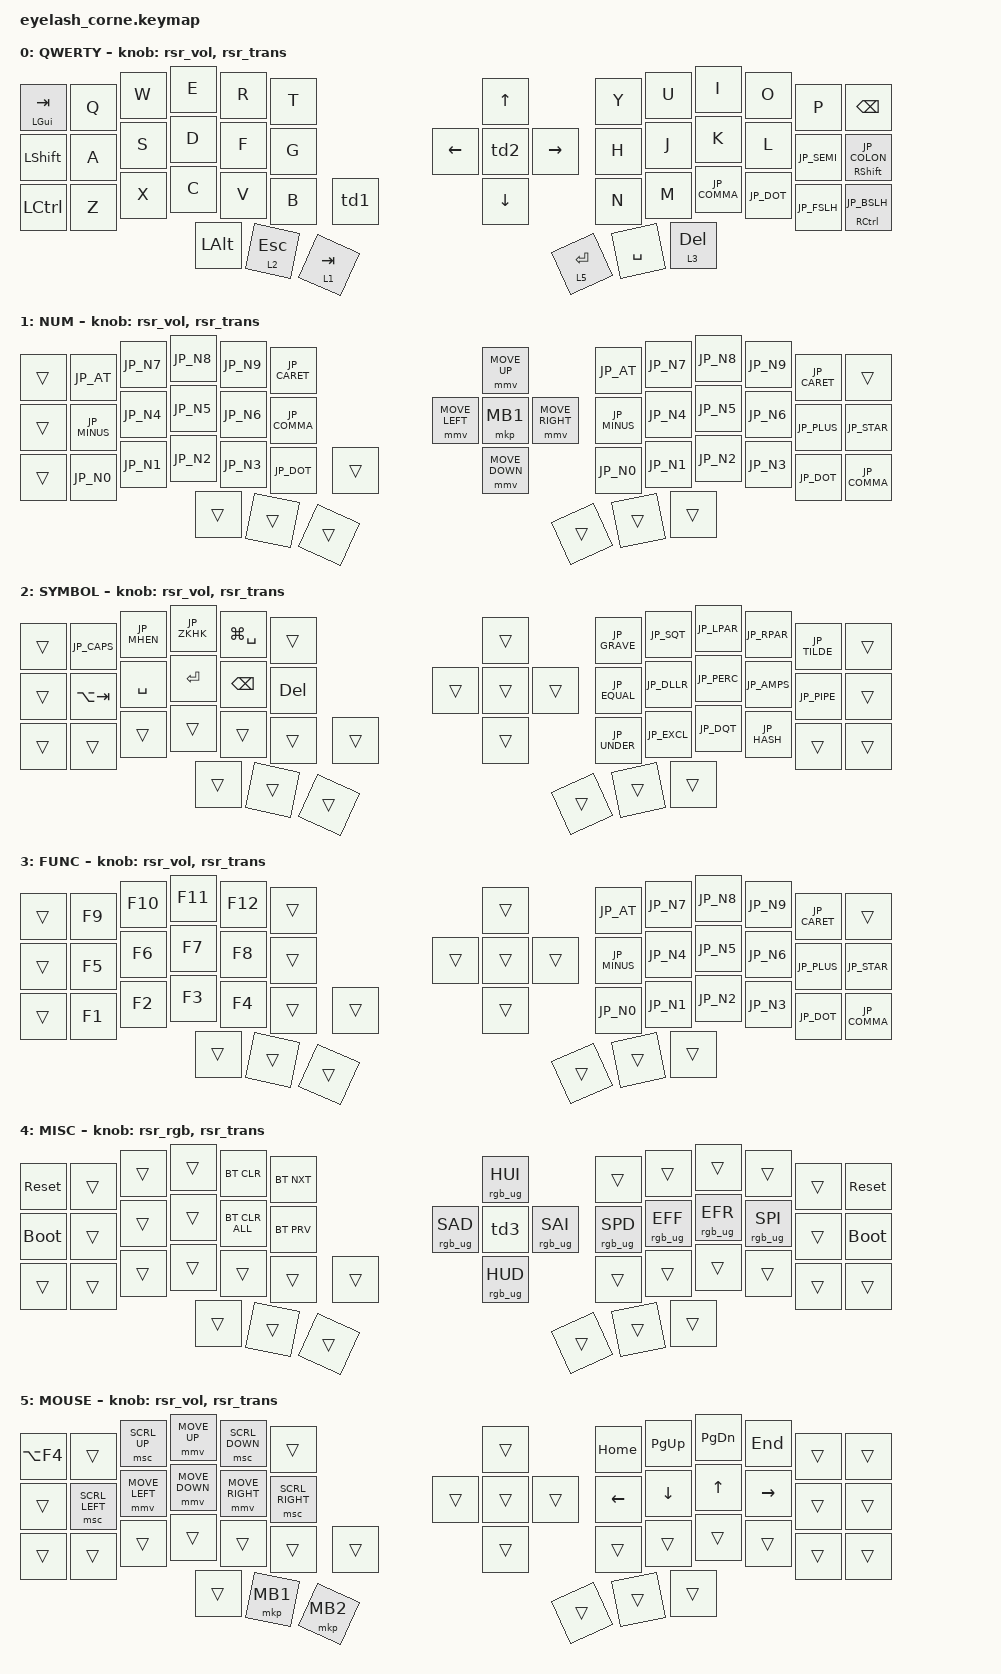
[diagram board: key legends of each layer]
#define ZMK_POINTING_DEFAULT_MOVE_VAL 1200  // 600
#define ZMK_POINTING_DEFAULT_SCRL_VAL 50   // 10

#include <input/processors.dtsi>
#include <zephyr/dt-bindings/input/input-event-codes.h>
#include <behaviors.dtsi>
#include <behaviors/runtime-sensor-rotate.dtsi>
#include <dt-bindings/zmk/bt.h>
#include <dt-bindings/zmk/keys.h>
#include <dt-bindings/zmk/outputs.h>
#include <dt-bindings/zmk/pointing.h>
#include <dt-bindings/zmk/rgb.h>
#include "keys_jp.h"

&soft_off { hold-time-ms = <2000>; };

/ {
	behaviors {
		td0: td0 {
			compatible = "zmk,behavior-tap-dance";
			display-name = "Shift/Caps Lock Tap Dance";
			#binding-cells = <0>;
			bindings = <&kp LEFT_SHIFT>, <&kp CAPS>;
		};

		td1: td1 {
			compatible = "zmk,behavior-tap-dance";
			display-name = "command palette (windows) and toggle layer 4";
			#binding-cells = <0>;
			bindings = <&kp LG(LA(SPACE))>, <&tog 4>;
		};

		td2: td2 {
			compatible = "zmk,behavior-tap-dance";
			display-name = "alt tab + toggle 4";
			#binding-cells = <0>;
			bindings = <&kp LA(TAB)>, <&tog 4>;
		};

		td3: td3 {
			compatible = "zmk,behavior-tap-dance";
			display-name = "rgb + toggle 4";
			#binding-cells = <0>;
			bindings = <&rgb_ug RGB_TOG>, <&tog 4>;
		};

		rsr_vol: rsr_vol {
			compatible = "zmk,behavior-runtime-sensor-rotate";
			#sensor-binding-cells = <0>;
			tap-ms = <5>;
			cw-binding = <&kp C_VOL_UP>;
			ccw-binding = <&kp C_VOL_DN>;
		};

		rsr_rgb: rsr_rgb {
			compatible = "zmk,behavior-runtime-sensor-rotate";
			#sensor-binding-cells = <0>;
			tap-ms = <5>;
			cw-binding = <&rgb_ug RGB_BRI>;
			ccw-binding = <&rgb_ug RGB_BRD>;
		};

		rsr_trans: rsr_trans {
			compatible = "zmk,behavior-runtime-sensor-rotate";
			#sensor-binding-cells = <0>;
			tap-ms = <0>;
		};
	};

	combos {
		compatible = "zmk,combos";

		combo_lbrc {
			timeout-ms = <30>;
			key-positions = <14 15>;
			bindings = <&kp JP_LBRC>;
		};
		combo_lbkt {
			timeout-ms = <30>;
			key-positions = <15 16>;
			bindings = <&kp JP_LBKT>;
		};
		combo_lpar {
			timeout-ms = <30>;
			key-positions = <16 17>;
			bindings = <&kp JP_LPAR>;
		};
		combo_tilde {
			timeout-ms = <30>;
			key-positions = <14 17>;
			bindings = <&kp JP_TILDE>;
		};
		combo_lt {
			timeout-ms = <30>;
			key-positions = <14 18>;
			bindings = <&kp JP_LT>;
		};
		combo_eq {
			timeout-ms = <30>;
			key-positions = <15 17>;
			bindings = <&kp JP_EQUAL>;
		};

		combo_rbrc {
			timeout-ms = <30>;
			key-positions = <25 26>;
			bindings = <&kp JP_RBRC>;
		};
		combo_rbkt {
			timeout-ms = <30>;
			key-positions = <24 25>;
			bindings = <&kp JP_RBKT>;
		};
		combo_rpar {
			timeout-ms = <30>;
			key-positions = <23 24>;
			bindings = <&kp JP_RPAR>;
		};
		combo_und {
			timeout-ms = <30>;
			key-positions = <23 26>;
			bindings = <&kp JP_UNDER>;
		};
		combo_gt {
			timeout-ms = <30>;
			key-positions = <22 26>;
			bindings = <&kp JP_GT>;
		};
		combo_dash {
			timeout-ms = <30>;
			key-positions = <22 23>;
			bindings = <&kp JP_MINUS>;
		};
		combo_dquo {
			timeout-ms = <30>;
			key-positions = <23 25>;
			bindings = <&kp JP_DQT>;
		};
	};
//  0  1  2  3	4  5	       6      7  8  9 10 11 12
// 13 14 15 16 17 18	   19 20 21  22 23 24 25 26 27
// 28 29 30 31 32 33  34      35     36 37 38 39 40 41
//	    42 43 44		     45 46 47
	keymap {  
		compatible = "zmk,keymap";

		L0 {
			display-name = "QWERTY";
			bindings = <
&mt LGUI TAB &kp Q  &kp W  &kp E     &kp R     &kp T                &kp UP          &kp Y        &kp U     &kp I         &kp O       &kp P        &kp BSPC
&kp LSHFT    &kp A  &kp S  &kp D     &kp F     &kp G       &kp LEFT &td2 &kp RIGHT  &kp H        &kp J     &kp K         &kp L       &kp JP_SEMI  &mt RSHFT JP_COLON
&kp LCTRL    &kp Z  &kp X  &kp C     &kp V     &kp B  &td1          &kp DOWN        &kp N        &kp M     &kp JP_COMMA  &kp JP_DOT  &kp JP_FSLH  &mt RCTRL JP_BSLH
                           &kp LALT  &lt 2 ESC &lt 1 TAB                            &lt 5 ENTER  &kp SPACE &lt 3 DEL
			>;
			sensor-bindings = <&rsr_vol &rsr_trans>;
		};

		L1 {
			display-name = "NUM";
			bindings = <
&trans     &kp JP_AT     &kp JP_N7  &kp JP_N8  &kp JP_N9  &kp JP_CARET                   &mmv MOVE_UP               &kp JP_AT     &kp JP_N7  &kp JP_N8  &kp JP_N9  &kp JP_CARET &trans
&trans     &kp JP_MINUS  &kp JP_N4  &kp JP_N5  &kp JP_N6  &kp JP_COMMA    &mmv MOVE_LEFT &mkp MB1  &mmv MOVE_RIGHT  &kp JP_MINUS  &kp JP_N4  &kp JP_N5  &kp JP_N6  &kp JP_PLUS  &kp JP_STAR
&trans     &kp JP_N0     &kp JP_N1  &kp JP_N2  &kp JP_N3  &kp JP_DOT    &trans           &mmv MOVE_DOWN             &kp JP_N0     &kp JP_N1  &kp JP_N2  &kp JP_N3  &kp JP_DOT   &kp JP_COMMA
                                    &trans     &trans     &trans                                                    &trans        &trans     &trans
			>;
			sensor-bindings = <&rsr_vol &rsr_trans>;
		};

		L2 {
			display-name = "SYMBOL";
			bindings = <
&trans &kp JP_CAPS     &kp JP_MHEN  &kp JP_ZKHK  &kp LG(SPACE)  &trans                  &trans          &kp JP_GRAVE  &kp JP_SQT   &kp JP_LPAR  &kp JP_RPAR  &kp JP_TILDE  &trans
&trans &kp LA(TAB)  &kp SPACE    &kp ENTER    &kp BSPC       &kp DEL         &trans  &trans  &trans  &kp JP_EQUAL  &kp JP_DLLR  &kp JP_PERC  &kp JP_AMPS  &kp JP_PIPE   &trans
&trans &trans       &trans       &trans       &trans         &trans   &trans         &trans          &kp JP_UNDER  &kp JP_EXCL  &kp JP_DQT   &kp JP_HASH  &trans        &trans
                                 &trans       &trans         &trans                                  &trans        &trans       &trans
			>;
			sensor-bindings = <&rsr_vol &rsr_trans>;
		};

		L3 {
			display-name = "FUNC";
			bindings = <
&trans   &kp F9   &kp F10  &kp F11  &kp F12  &trans                  &trans          &kp JP_AT    &kp JP_N7  &kp JP_N8  &kp JP_N9  &kp JP_CARET  &trans     
&trans   &kp F5   &kp F6   &kp F7   &kp F8   &trans          &trans  &trans  &trans  &kp JP_MINUS &kp JP_N4  &kp JP_N5  &kp JP_N6  &kp JP_PLUS   &kp JP_STAR  
&trans   &kp F1   &kp F2   &kp F3   &kp F4   &trans   &trans         &trans          &kp JP_N0    &kp JP_N1  &kp JP_N2  &kp JP_N3  &kp JP_DOT    &kp JP_COMMA 
                           &trans   &trans   &trans                                  &trans       &trans     &trans
			>;
			sensor-bindings = <&rsr_vol &rsr_trans>;
		};


		L4 {
			display-name = "MISC";
			bindings = <
&sys_reset   &trans  &trans  &trans  &bt BT_CLR      &bt BT_NXT                          &rgb_ug RGB_HUI                   &trans           &trans           &trans           &trans           &trans  &sys_reset     
&bootloader  &trans  &trans  &trans  &bt BT_CLR_ALL  &bt BT_PRV         &rgb_ug RGB_SAD  &td3             &rgb_ug RGB_SAI  &rgb_ug RGB_SPD  &rgb_ug RGB_EFF  &rgb_ug RGB_EFR  &rgb_ug RGB_SPI  &trans  &bootloader
&trans       &trans  &trans  &trans  &trans          &trans      &trans                  &rgb_ug RGB_HUD                   &trans           &trans           &trans           &trans           &trans  &trans 
                             &trans  &trans          &trans                                                                &trans           &trans           &trans
			>;
			sensor-bindings = <&rsr_rgb &rsr_trans>;
		};

		L5 {
			display-name = "MOUSE";
			bindings = <
&kp LA(F4)  &trans          &msc SCRL_UP    &mmv MOVE_UP    &msc SCRL_DOWN   &trans                         &trans          &kp HOME  &kp PG_UP  &kp PG_DN  &kp END    &trans  &trans
&trans      &msc SCRL_LEFT  &mmv MOVE_LEFT  &mmv MOVE_DOWN  &mmv MOVE_RIGHT  &msc SCRL_RIGHT        &trans  &trans  &trans  &kp LEFT  &kp DOWN   &kp UP     &kp RIGHT  &trans  &trans
&trans      &trans          &trans          &trans          &trans           &trans          &trans         &trans          &trans    &trans     &trans     &trans     &trans  &trans
                                            &trans          &mkp MB1         &mkp MB2                                       &trans    &trans     &trans
			>;
			sensor-bindings = <&rsr_vol &rsr_trans>;
		};
	};
};
